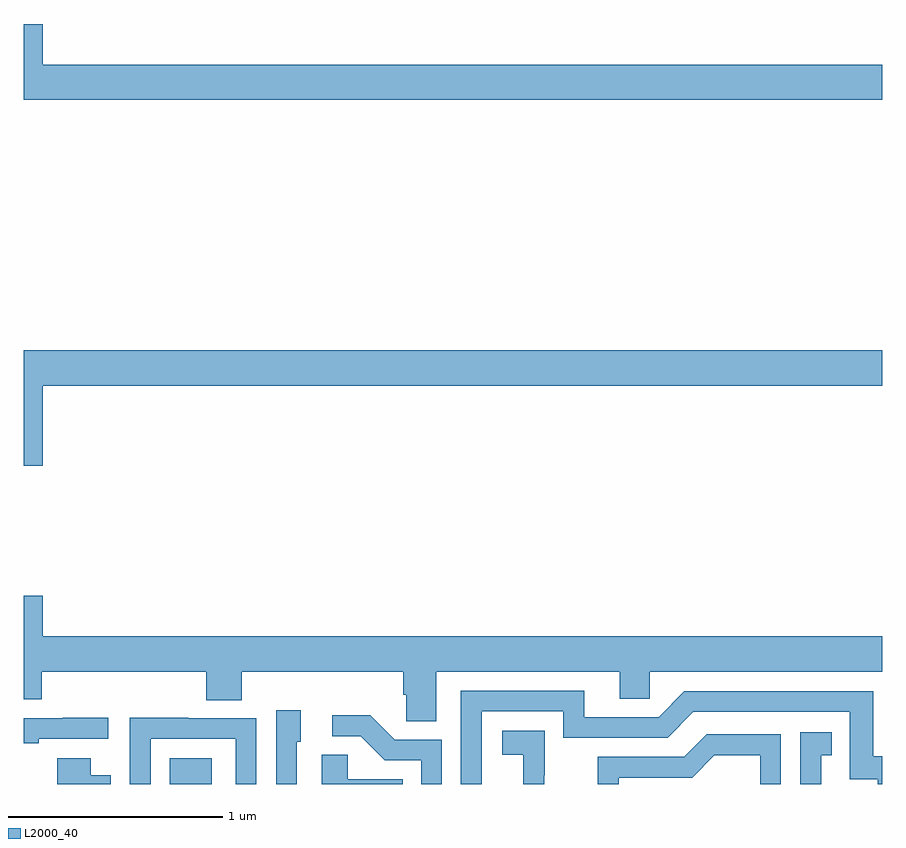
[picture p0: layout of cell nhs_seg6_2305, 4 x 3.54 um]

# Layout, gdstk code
import gdstk
lib = gdstk.Library(unit=1e-6, precision=1e-09)
def R(c, l, rs):  # rectangles x0, y0, x1, y1
    for r in rs: c.add(gdstk.rectangle(r[:2], r[2:], *l))
def P(c, l, *ps):  # polygons
    for p in ps: c.add(gdstk.Polygon(p, *l))
L2000_40 = (2000, 40)

nhs_seg6_2305 = lib.new_cell('nhs_seg6_2305')
R(nhs_seg6_2305, L2000_40, [(249.68,925.5,249.877,925.621)])
P(nhs_seg6_2305, L2000_40, [(253,928.852),(249.088,928.852),(249.088,929.041),(249,929.041),(249,928.688),(253,928.688)],
  [(249.088,927.356),(253,927.356),(253,927.52),(249,927.52),(249,926.982),(249.088,926.982)],
  [(250.921,926.024),(251.777,926.024),(251.777,925.897),(251.916,925.897),(251.916,926.024),(253,926.024),(253,926.188),(249.088,926.188),(249.088,926.377),(249,926.377),(249,925.896),(249.085,925.896),(249.085,926.024),(249.851,926.024),(249.851,925.891),(250.016,925.891),(250.016,926.024),(250.769,926.024),(250.769,925.915),(250.782,925.915),(250.782,925.792),(250.921,925.792)],
  [(251.133,925.839),(251.514,925.839),(251.514,925.716),(252,925.716),(252.12,925.836),(252.849,925.836),(252.849,925.521),(252.978,925.521),(252.978,925.5),(253,925.5),(253,925.63),(252.958,925.63),(252.958,925.932),(252.078,925.932),(251.958,925.812),(251.611,925.812),(251.611,925.935),(251.037,925.935),(251.037,925.5),(251.133,925.5)],
  [(250.272,925.698),(250.291,925.698),(250.291,925.843),(250.176,925.843),(250.176,925.5),(250.272,925.5)],
  [(250.947,925.707),(250.728,925.707),(250.615,925.82),(250.437,925.82),(250.437,925.722),(250.571,925.722),(250.682,925.611),(250.851,925.611),(250.851,925.5),(250.947,925.5)],
  [(249.591,925.71),(249.987,925.71),(249.987,925.5),(250.083,925.5),(250.083,925.806),(249.767,925.806),(249.767,925.808),(249.495,925.808),(249.495,925.5),(249.591,925.5)],
  [(249.07,925.71),(249.394,925.71),(249.394,925.808),(249.181,925.808),(249.181,925.806),(249,925.806),(249,925.69),(249.07,925.69)],
  [(251.426,925.541),(251.427,925.541),(251.427,925.747),(251.229,925.747),(251.229,925.637),(251.327,925.637),(251.327,925.5),(251.426,925.5)],
  [(252.715,925.635),(252.764,925.635),(252.764,925.741),(252.618,925.741),(252.618,925.5),(252.715,925.5)],
  [(251.772,925.53),(252.114,925.53),(252.218,925.634),(252.432,925.634),(252.432,925.5),(252.528,925.5),(252.528,925.731),(252.182,925.731),(252.077,925.626),(251.674,925.626),(251.674,925.5),(251.772,925.5)],
  [(250.766,925.522),(250.509,925.522),(250.509,925.637),(250.388,925.637),(250.388,925.5),(250.766,925.5)],
  [(249.406,925.54),(249.313,925.54),(249.313,925.621),(249.155,925.621),(249.155,925.5),(249.406,925.5)])

lib.write_gds('nhs_seg6_2305.gds')
